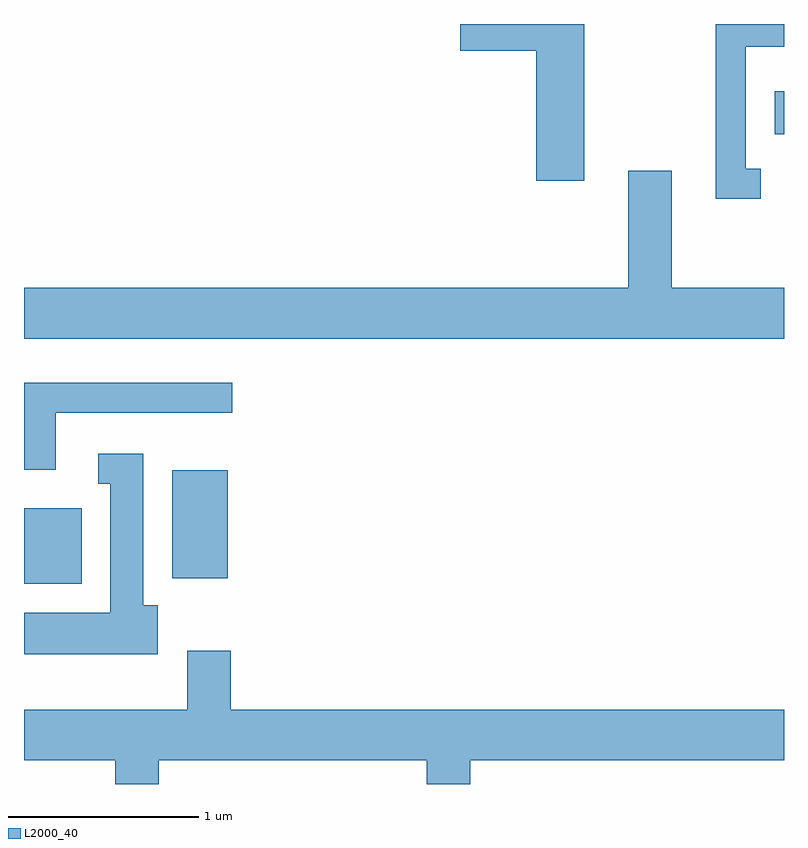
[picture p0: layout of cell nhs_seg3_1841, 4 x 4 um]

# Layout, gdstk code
import gdstk
lib = gdstk.Library(unit=1e-6, precision=1e-09)
def R(c, l, rs):  # rectangles x0, y0, x1, y1
    for r in rs: c.add(gdstk.rectangle(r[:2], r[2:], *l))
def P(c, l, *ps):  # polygons
    for p in ps: c.add(gdstk.Polygon(p, *l))
L2000_40 = (2000, 40)

nhs_seg3_1841 = lib.new_cell('nhs_seg3_1841')
R(nhs_seg3_1841, L2000_40, [(239.611,1126.946,239.914,1127.344), (240.391,1126.976,240.684,1127.544), (243.561,1129.311,243.611,1129.539)])
P(nhs_seg3_1841, L2000_40, [(243.488,1129.129),(243.409,1129.129),(243.409,1129.771),(243.611,1129.771),(243.611,1129.892),(243.251,1129.892),(243.251,1128.971),(243.488,1128.971)],
  [(242.559,1129.892),(241.906,1129.892),(241.906,1129.751),(242.306,1129.751),(242.306,1129.066),(242.559,1129.066)],
  [(243.611,1128.504),(243.019,1128.504),(243.019,1129.119),(242.791,1129.119),(242.791,1128.504),(239.611,1128.504),(239.611,1128.236),(243.611,1128.236)],
  [(239.779,1127.846),(240.708,1127.846),(240.708,1128.004),(239.611,1128.004),(239.611,1127.546),(239.779,1127.546)],
  [(240.314,1126.834),(240.239,1126.834),(240.239,1127.629),(240.003,1127.629),(240.003,1127.471),(240.066,1127.471),(240.066,1126.794),(239.611,1126.794),(239.611,1126.576),(240.314,1126.576)],
  [(240.319,1126.016),(241.731,1126.016),(241.731,1125.892),(241.959,1125.892),(241.959,1126.016),(243.611,1126.016),(243.611,1126.284),(240.699,1126.284),(240.699,1126.594),(240.471,1126.594),(240.471,1126.284),(239.611,1126.284),(239.611,1126.016),(240.091,1126.016),(240.091,1125.892),(240.319,1125.892)])

lib.write_gds('nhs_seg3_1841.gds')
